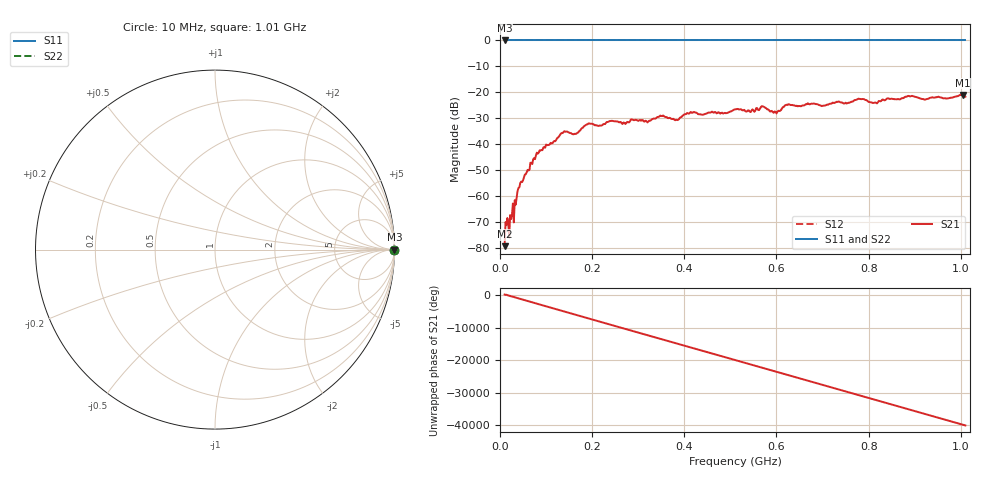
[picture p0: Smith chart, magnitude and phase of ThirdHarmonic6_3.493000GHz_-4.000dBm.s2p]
! 8/17/2025 11:23:16 AM
! C:\ANRITSUVNA\TEMP\TEMP.S2P
! CHANNEL.1
! TR.MEASUREMENT
! RAW.DATA
! RF.CORRECTION.OFF
! AVERAGING.OFF
! IF.BANDWIDTH: 5KHZ
! SWEEPTYPE:  FREQ.SWEEP(Linear)
! Reference Plane Port Info
! PORT:  PORT1  PORT2
! DISTANCE:  0  m  0  m
! TIME:  0  s  0  s
! PHASE.OFFSET:  0  deg.  0  deg.
! LOSS:  0  dB  0  dB
! REF.LOSS:  0  dB  0  dB
! REF.FREQ:  0  Hz  0  Hz
! Power Info
! POWER:  -20  dBm  -20  dBm
! EFF.POWER:  -20  dBm  -20  dBm
! SOURCE.ATTEN:  0  dB  0  dB
! TEST.ATTEN:  0  dB  0  dB
# GHZ S RI R 50.0
! FREQ.GHZ  S11RE  S11IM  S21RE  S21IM  S12RE  S12IM  S22RE  S22IM
!; PortSelection: Port_12
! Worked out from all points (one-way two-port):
!   501 points, 10 MHz to 1.01 GHz, reference 50 ohm
!   highest |S21| = -21.02 dB at 1.004 GHz (marker M1); lowest = -79.4 dB at 10 MHz (marker M2)
!   lowest |S11| = 0.0 dB at 10 MHz (marker M3)
!   |S11| at or under -10 dB: nowhere
!   |S22| runs from 0.0 to 0.0 dB; largest |S21 - S12| = 1.1
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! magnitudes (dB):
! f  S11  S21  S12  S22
! 10 MHz  0.0  -79.4  0.0  0.0
! 14 MHz  0.0  -71.3  0.0  0.0
! 22 MHz  0.0  -67.4  0.0  0.0
! 34 MHz  0.0  -63.4  0.0  0.0
! 42 MHz  0.0  -56.7  0.0  0.0
! 82 MHz  0.0  -43.7  0.0  0.0
! 136 MHz  0.0  -35.8  0.0  0.0
! 162 MHz  0.0  -36.0  0.0  0.0
! 178 MHz  0.0  -33.8  0.0  0.0
! 194 MHz  0.0  -32.1  0.0  0.0
! 322 MHz  0.0  -31.3  0.0  0.0
! 344 MHz  0.0  -29.5  0.0  0.0
! 384 MHz  0.0  -30.7  0.0  0.0
! 416 MHz  0.0  -27.9  0.0  0.0
! 510 MHz  0.0  -26.6  0.0  0.0
! 570 MHz  0.0  -25.4  0.0  0.0
! 598 MHz  0.0  -27.5  0.0  0.0
! 624 MHz  0.0  -24.9  0.0  0.0
! 678 MHz  0.0  -24.4  0.0  0.0
! 844 MHz  0.0  -22.5  0.0  0.0
! 1.004 GHz  0.0  -21.0  0.0  0.0
! 1.01 GHz  0.0  -21.7  0.0  0.0
